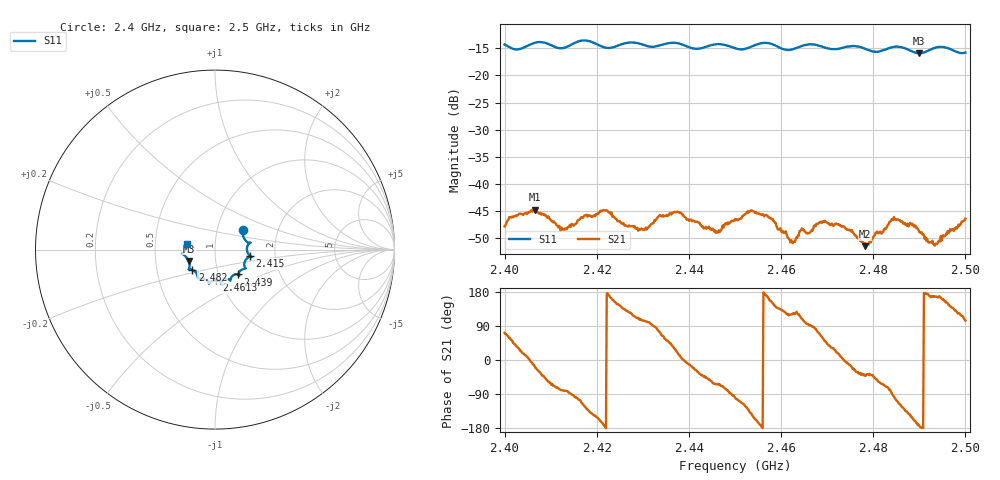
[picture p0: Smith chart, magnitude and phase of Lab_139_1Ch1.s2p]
# Hz S RI R 50
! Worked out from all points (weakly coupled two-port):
!   601 points, 2.4 GHz to 2.5 GHz, reference 50 ohm
!   highest |S21| = -44.72 dB at 2.4065 GHz (marker M1); lowest = -51.4 dB at 2.4782 GHz (marker M2)
!   lowest |S11| = -15.9 dB at 2.49 GHz (marker M3), VSWR 1.38, Z = 36.9 - j4.84 ohm
!   |S11| at or under -10 dB: start of sweep to end of sweep
!   S12 and S22 are empty: the file has one direction only
!   S11 on the Smith chart (normalised r, x): 2.4 GHz: 1.33, +0.31; 2.415 GHz: 1.48, -0.11; 2.439 GHz: 1.24, -0.36; 2.4613 GHz: 0.96, -0.34; 2.482 GHz: 0.76, -0.18; 2.5 GHz: 0.72, +0.05
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2.4e9  0.1564 0.1119  0.00126 0.00387  0 0  0 0
2.4065e9  0.1957 0.037  0.00558 -0.00159  0 0  0 0
2.4125e9  0.1778 -0.00207  0.000655 -0.00381  0 0  0 0
2.415e9  0.1935 -0.0352  -0.000285 -0.00412  0 0  0 0
2.416667e9  0.2045 -0.0425  -0.00188 -0.00458  0 0  0 0
2.421833e9  0.1707 -0.0577  -0.0057 -0.000292  0 0  0 0
2.4295e9  0.1635 -0.1061  -0.00112 0.00363  0 0  0 0
2.433333e9  0.1326 -0.1319  0.00109 0.00488  0 0  0 0
2.439e9  0.1285 -0.1386  0.00501 -0.000191  0 0  0 0
2.446333e9  0.0861 -0.1738  0.0016 -0.0032  0 0  0 0
2.45e9  0.0692 -0.1639  -0.000756 -0.00468  0 0  0 0
2.454e9  0.0352 -0.1839  -0.00488 -0.00273  0 0  0 0
2.461333e9  0.00742 -0.1712  -0.00167 0.00285  0 0  0 0
2.4625e9  -0.00975 -0.1737  -0.00145 0.00246  0 0  0 0
2.466667e9  -0.0337 -0.1902  7.6e-05 0.00378  0 0  0 0
2.472333e9  -0.0698 -0.1607  0.00406 0.00126  0 0  0 0
2.478167e9  -0.0975 -0.147  0.00201 -0.00177  0 0  0 0
2.482e9  -0.1262 -0.1123  0.00162 -0.00321  0 0  0 0
2.483333e9  -0.1393 -0.1101  0.00111 -0.00411  0 0  0 0
2.49e9  -0.1466 -0.0639  -0.00359 -0.000386  0 0  0 0
2.4935e9  -0.1782 -0.0254  -0.00276 0.000603  0 0  0 0
2.5e9  -0.1588 0.0329  -0.00115 0.00466  0 0  0 0
